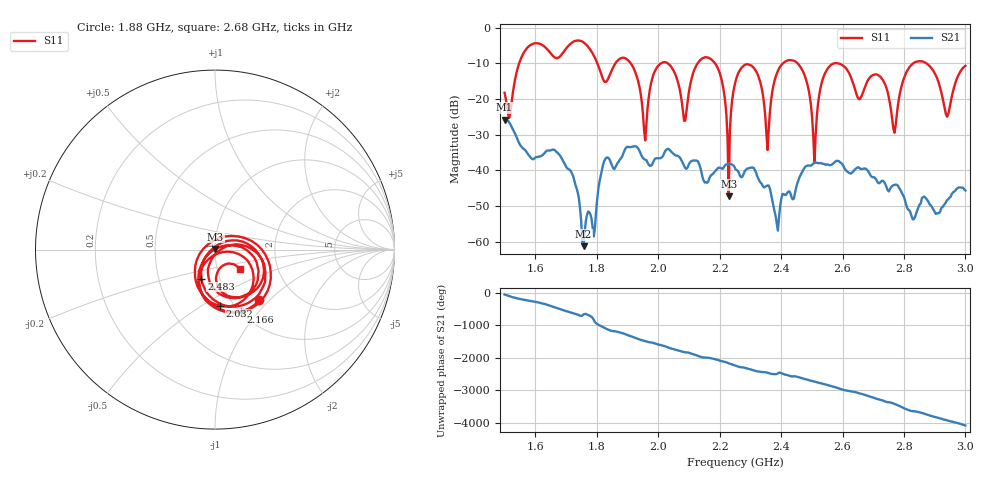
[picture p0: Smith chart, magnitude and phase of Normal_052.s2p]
# HZ S RI R 50
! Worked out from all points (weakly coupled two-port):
!   404 points, 1.5 GHz to 3 GHz, reference 50 ohm
!   highest |S21| = -25.75 dB at 1.5 GHz (marker M1); lowest = -61.3 dB at 1.757 GHz (marker M2)
!   lowest |S11| = -47.3 dB at 2.23 GHz (marker M3), VSWR 1.01, Z = 50.2 + j0.376 ohm
!   |S11| at or under -10 dB: 2.185 GHz to 2.406 GHz (221.3 MHz wide, 9.64 % of centre); 2.584 GHz to 2.83 GHz (245.9 MHz wide, 9.08 % of centre); 2.873 GHz to end of sweep (the widest 3 of 8)
!   S12 and S22 are empty: the file has one direction only
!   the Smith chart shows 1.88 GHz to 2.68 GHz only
!   S11 on the Smith chart (normalised r, x): 1.88 GHz: 1.32, -0.87; 2.032 GHz: 0.86, -0.60; 2.166 GHz: 1.01, -0.81; 2.483 GHz: 0.82, -0.27; 2.68 GHz: 1.28, -0.28
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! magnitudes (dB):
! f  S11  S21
! 1.5 GHz  -18.3  -25.8
! 1.679 GHz  -8.2  -35.7
! 1.753 GHz  -3.9  -60.2
! 1.757 GHz  -4.1  -61.3
! 1.88 GHz  -8.5  -36.6
! 1.958 GHz  -31.6  -37.0
! 2.002 GHz  -10.5  -36.6
! 2.032 GHz  -10.1  -34.0
! 2.088 GHz  -26.0  -39.4
! 2.166 GHz  -8.5  -42.3
! 2.23 GHz  -47.3  -38.2
! 2.252 GHz  -15.0  -39.7
! 2.315 GHz  -11.7  -40.0
! 2.356 GHz  -34.3  -44.3
! 2.386 GHz  -12.9  -54.8
! 2.483 GHz  -15.0  -38.8
! 2.501 GHz  -25.3  -38.4
! 2.565 GHz  -10.3  -38.4
! 2.68 GHz  -15.2  -39.9
! 2.751 GHz  -19.5  -45.9
! 2.94 GHz  -25.0  -48.3
! 3 GHz  -10.7  -45.7
